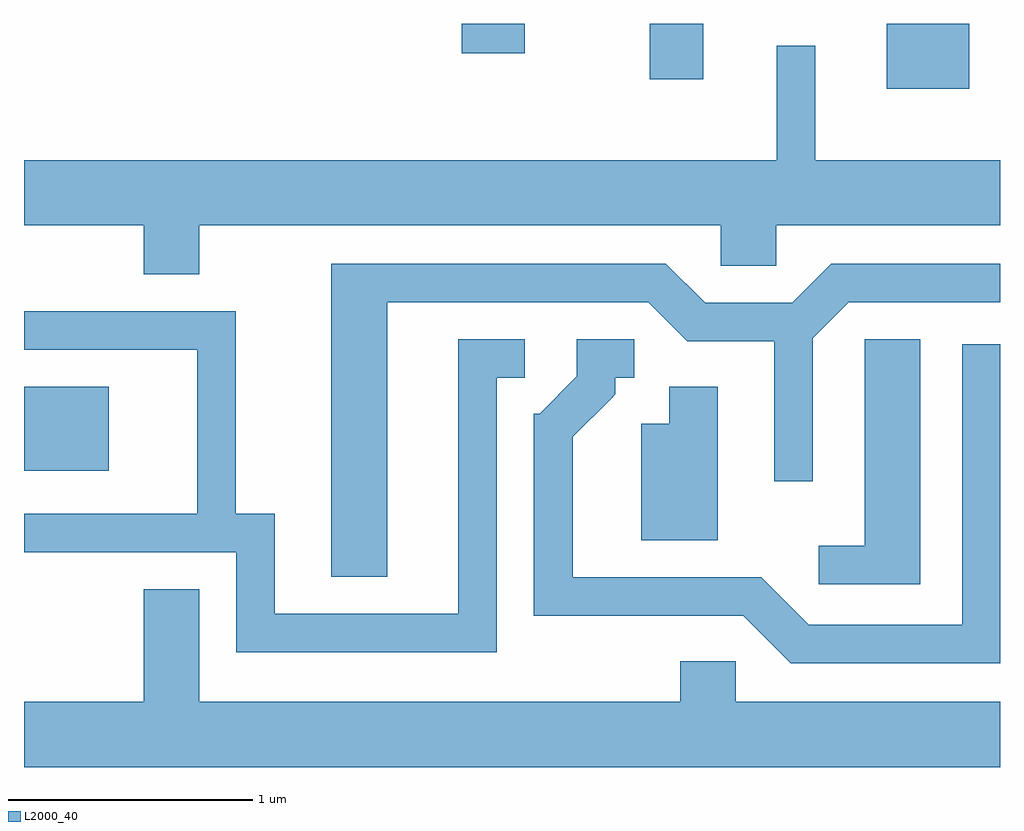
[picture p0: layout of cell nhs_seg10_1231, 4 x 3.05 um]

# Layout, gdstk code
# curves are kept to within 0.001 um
import gdstk
lib = gdstk.Library(unit=1e-6, precision=1e-09)
def R(c, l, rs):  # rectangles x0, y0, x1, y1
    for r in rs: c.add(gdstk.rectangle(r[:2], r[2:], *l))
def P(c, l, *ps):  # polygons
    for p in ps: c.add(gdstk.Polygon(p, *l))
L2000_40 = (2000, 40)

nhs_seg10_1231 = lib.new_cell('nhs_seg10_1231')
R(nhs_seg10_1231, L2000_40, [(221.611,2110.691,221.959,2111.034), (225.146,2112.256,225.484,2112.522), (224.176,2112.296,224.394,2112.522), (223.406,2112.401,223.664,2112.522)])
P(nhs_seg10_1231, L2000_40, [(222.329,2111.696),(224.466,2111.696),(224.466,2111.531),(224.694,2111.531),(224.694,2111.696),(225.611,2111.696),(225.611,2111.964),(224.854,2111.964),(224.854,2112.433),(224.696,2112.433),(224.696,2111.964),(221.611,2111.964),(221.611,2111.696),(222.101,2111.696),(222.101,2111.496),(222.329,2111.496)],
  [(223.099,2111.381),(224.169,2111.381),(224.329,2111.221),(224.686,2111.221),(224.686,2110.648),(224.844,2110.648),(224.844,2111.234),(224.992,2111.381),(225.611,2111.381),(225.611,2111.539),(224.919,2111.539),(224.759,2111.379),(224.402,2111.379),(224.242,2111.539),(222.871,2111.539),(222.871,2110.256),(223.099,2110.256)],
  [(223.549,2111.071),(223.663,2111.071),(223.663,2111.229),(223.391,2111.229),(223.391,2110.104),(222.639,2110.104),(222.639,2110.514),(222.479,2110.514),(222.479,2111.344),(221.611,2111.344),(221.611,2111.186),(222.321,2111.186),(222.321,2110.514),(221.611,2110.514),(221.611,2110.356),(222.481,2110.356),(222.481,2109.946),(223.549,2109.946)],
  [(225.611,2111.209),(225.456,2111.209),(225.456,2110.059),(224.827,2110.059),(224.632,2110.254),(223.859,2110.254),(223.859,2110.829),(224.034,2111.004),(224.034,2111.071),(224.113,2111.071),(224.113,2111.229),(223.876,2111.229),(223.876,2111.077),(223.724,2110.924),(223.701,2110.924),(223.701,2110.096),(224.559,2110.096),(224.754,2109.901),(225.611,2109.901)],
  [(225.284,2111.229),(225.056,2111.229),(225.056,2110.384),(224.868,2110.384),(224.868,2110.226),(225.284,2110.226)],
  [(224.454,2111.034),(224.256,2111.034),(224.256,2110.884),(224.141,2110.884),(224.141,2110.406),(224.454,2110.406)],
  [(225.611,2109.744),(224.529,2109.744),(224.529,2109.909),(224.301,2109.909),(224.301,2109.744),(222.329,2109.744),(222.329,2110.204),(222.101,2110.204),(222.101,2109.744),(221.611,2109.744),(221.611,2109.476),(225.611,2109.476)])

lib.write_gds('nhs_seg10_1231.gds')
